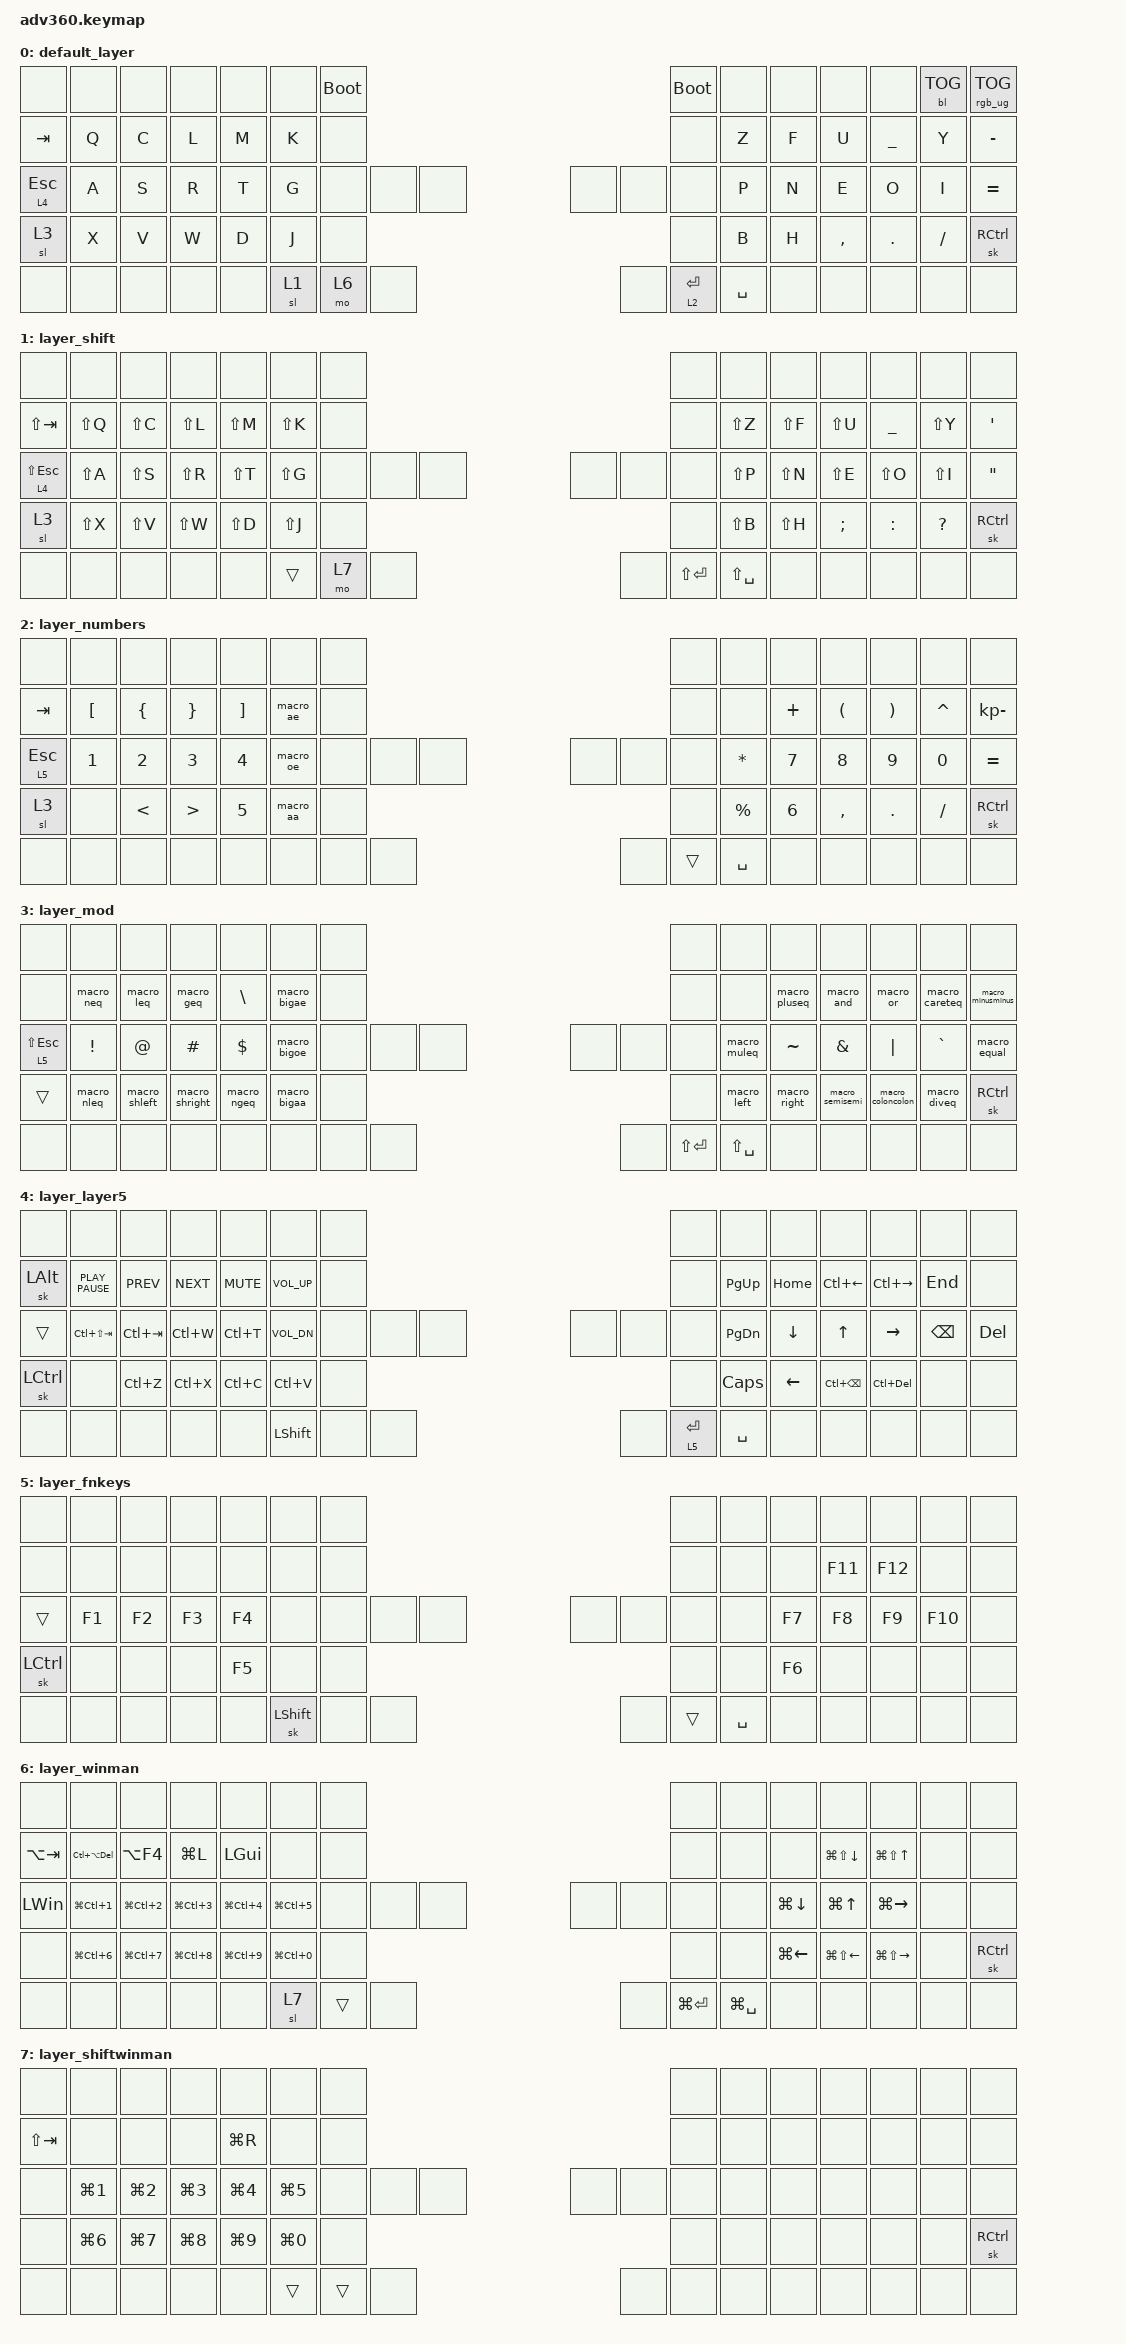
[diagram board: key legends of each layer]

/*
 * Copyright (c) 2020 The ZMK Contributors
 *
 * SPDX-License-Identifier: MIT
 */


/* THIS FILE WAS GENERATED!
 *
 * This file was generated automatically. You may or may not want to
 * edit it directly.
 */

#include <behaviors.dtsi>
#include <dt-bindings/zmk/backlight.h>
#include <dt-bindings/zmk/rgb.h>
#include <dt-bindings/zmk/keys.h>

/ {
  behaviors {
    #include "macros.dtsi"
    #include "version.dtsi"

    hm: homerow_mods {
        compatible = "zmk,behavior-hold-tap";
        label = "HOMEROW_MODS";
        #binding-cells = <2>;
        tapping-term-ms = <200>;
        quick_tap_ms = <175>;
        flavor = "tap-preferred";
        bindings = <&kp>, <&kp>;
    };
  };

    keymap {
        compatible = "zmk,keymap";


        default_layer {
            bindings = <
        &none   &none   &none   &none   &none   &none            &bootloader                                                       &bootloader   &none   &none      &none           &none  &bl BL_TOG  &rgb_ug RGB_TOG
      &kp TAB   &kp Q   &kp C   &kp L   &kp M   &kp K                  &none                                                             &none   &kp Z   &kp F      &kp U  &kp UNDERSCORE       &kp Y        &kp MINUS
 &lt 4 ESCAPE   &kp A   &kp S   &kp R   &kp T   &kp G                  &none   &none   &none                   &none        &none        &none   &kp P   &kp N      &kp E           &kp O       &kp I        &kp EQUAL
        &sl 3   &kp X   &kp V   &kp W   &kp D   &kp J                                  &none                   &none                             &kp B   &kp H  &kp COMMA         &kp DOT    &kp FSLH        &sk RCTRL
        &none   &none   &none   &none   &none                          &sl 1   &mo 6   &none                   &none  &lt 2 ENTER    &kp SPACE           &none      &none           &none       &none            &none
            >;
        };

        layer_shift {
            bindings = <
            &none      &none      &none      &none      &none      &none             &none                                                                 &none      &none      &none          &none           &none         &none              &none
      &kp LS(TAB)  &kp LS(Q)  &kp LS(C)  &kp LS(L)  &kp LS(M)  &kp LS(K)             &none                                                                 &none  &kp LS(Z)  &kp LS(F)      &kp LS(U)  &kp UNDERSCORE     &kp LS(Y)   &kp SINGLE_QUOTE
 &lt 4 LS(ESCAPE)  &kp LS(A)  &kp LS(S)  &kp LS(R)  &kp LS(T)  &kp LS(G)             &none   &none   &none                   &none          &none          &none  &kp LS(P)  &kp LS(N)      &kp LS(E)       &kp LS(O)     &kp LS(I)  &kp DOUBLE_QUOTES
            &sl 3  &kp LS(X)  &kp LS(V)  &kp LS(W)  &kp LS(D)  &kp LS(J)                             &none                   &none                                &kp LS(B)  &kp LS(H)  &kp SEMICOLON       &kp COLON  &kp QUESTION          &sk RCTRL
            &none      &none      &none      &none      &none                       &trans   &mo 7   &none                   &none  &kp LS(ENTER)  &kp LS(SPACE)                 &none          &none           &none         &none              &none
            >;
        };

        layer_numbers {
            bindings = <
        &none             &none           &none             &none              &none      &none            &none                                                      &none         &none         &none                 &none                  &none         &none         &none
      &kp TAB  &kp LEFT_BRACKET  &kp LEFT_BRACE   &kp RIGHT_BRACE  &kp RIGHT_BRACKET  &macro_ae            &none                                                      &none         &none      &kp PLUS  &kp LEFT_PARENTHESIS  &kp RIGHT_PARENTHESIS     &kp CARET  &kp KP_MINUS
 &lt 5 ESCAPE      &kp NUMBER_1    &kp NUMBER_2      &kp NUMBER_3       &kp NUMBER_4  &macro_oe            &none   &none   &none                   &none   &none      &none  &kp ASTERISK  &kp NUMBER_7          &kp NUMBER_8           &kp NUMBER_9  &kp NUMBER_0     &kp EQUAL
        &sl 3             &none   &kp LESS_THAN  &kp GREATER_THAN       &kp NUMBER_5  &macro_aa                            &none                   &none                      &kp PERCENT  &kp NUMBER_6             &kp COMMA                &kp DOT     &kp SLASH     &sk RCTRL
        &none             &none           &none             &none              &none                       &none   &none   &none                   &none  &trans  &kp SPACE                       &none                 &none                  &none         &none         &none
            >;
        };

        layer_mod {
            bindings = <
            &none            &none          &none           &none          &none         &none            &none                                                                 &none         &none          &none            &none              &none           &none              &none
            &none       &macro_neq     &macro_leq      &macro_geq  &kp BACKSLASH  &macro_bigae            &none                                                                 &none         &none  &macro_pluseq       &macro_and          &macro_or  &macro_careteq  &macro_minusminus
 &lt 5 LS(ESCAPE)  &kp EXCLAMATION         &kp AT        &kp HASH     &kp DOLLAR  &macro_bigoe            &none   &none   &none                   &none          &none          &none  &macro_muleq      &kp TILDE    &kp AMPERSAND           &kp PIPE       &kp GRAVE       &macro_equal
           &trans      &macro_nleq  &macro_shleft  &macro_shright    &macro_ngeq  &macro_bigaa                            &none                   &none                                 &macro_left   &macro_right  &macro_semisemi  &macro_coloncolon    &macro_diveq  &sk RIGHT_CONTROL
            &none            &none          &none           &none          &none                          &none   &none   &none                   &none  &kp LS(ENTER)  &kp LS(SPACE)                        &none            &none              &none           &none              &none
            >;
        };

        layer_layer5 {
            bindings = <
            &none             &none        &none       &none       &none         &none                 &none                                                           &none         &none     &none              &none          &none          &none    &none
         &sk LALT  &kp K_PLAY_PAUSE   &kp K_PREV  &kp K_NEXT  &kp K_MUTE  &kp K_VOL_UP                 &none                                                           &none     &kp PG_UP  &kp HOME       &kp LC(LEFT)  &kp LC(RIGHT)        &kp END    &none
           &trans   &kp LC(LS(TAB))  &kp LC(TAB)   &kp LC(W)   &kp LC(T)  &kp K_VOL_DN                 &none   &none   &none                   &none        &none      &none     &kp PG_DN  &kp DOWN             &kp UP      &kp RIGHT  &kp BACKSPACE  &kp DEL
 &sk LEFT_CONTROL             &none    &kp LC(Z)   &kp LC(X)   &kp LC(C)     &kp LC(V)                                 &none                   &none                          &kp CAPSLOCK  &kp LEFT  &kp LC(BACKSPACE)    &kp LC(DEL)          &none    &none
            &none             &none        &none       &none       &none                          &kp LSHIFT   &none   &none                   &none  &lt 5 ENTER  &kp SPACE                   &none              &none          &none          &none    &none
            >;
        };

        layer_fnkeys {
            bindings = <
     &none   &none   &none   &none   &none   &none                 &none                                                      &none   &none   &none    &none    &none    &none   &none
     &none   &none   &none   &none   &none   &none                 &none                                                      &none   &none   &none  &kp F11  &kp F12    &none   &none
    &trans  &kp F1  &kp F2  &kp F3  &kp F4   &none                 &none   &none   &none                   &none   &none      &none   &none  &kp F7   &kp F8   &kp F9  &kp F10   &none
 &sk LCTRL   &none   &none   &none  &kp F5   &none                                 &none                   &none                      &none  &kp F6    &none    &none    &none   &none
     &none   &none   &none   &none   &none                    &sk LSHIFT   &none   &none                   &none  &trans  &kp SPACE           &none    &none    &none    &none   &none
            >;
        };

        layer_winman {
            bindings = <
        &none                 &none                 &none                 &none                 &none                 &none            &none                                                                 &none   &none         &none             &none              &none   &none      &none
  &kp LA(TAB)       &kp LC(LA(DEL))            &kp LA(F4)             &kp LG(L)          &kp LEFT_GUI                 &none            &none                                                                 &none   &none         &none  &kp LG(LS(DOWN))     &kp LG(LS(UP))   &none      &none
 &kp LEFT_WIN  &kp LG(LC(NUMBER_1))  &kp LG(LC(NUMBER_2))  &kp LG(LC(NUMBER_3))  &kp LG(LC(NUMBER_4))  &kp LG(LC(NUMBER_5))            &none   &none   &none                   &none          &none          &none   &none  &kp LG(DOWN)        &kp LG(UP)      &kp LG(RIGHT)   &none      &none
        &none  &kp LG(LC(NUMBER_6))  &kp LG(LC(NUMBER_7))  &kp LG(LC(NUMBER_8))  &kp LG(LC(NUMBER_9))  &kp LG(LC(NUMBER_0))                            &none                   &none                                 &none  &kp LG(LEFT)  &kp LG(LS(LEFT))  &kp LG(LS(RIGHT))   &none  &sk RCTRL
        &none                 &none                 &none                 &none                 &none                                  &sl 7  &trans   &none                   &none  &kp LG(ENTER)  &kp LG(SPACE)                 &none             &none              &none   &none      &none
            >;
        };

        layer_shiftwinman {
            bindings = <
       &none             &none             &none             &none             &none             &none             &none                                                   &none   &none   &none   &none   &none   &none      &none
 &kp LS(TAB)             &none             &none             &none         &kp LG(R)             &none             &none                                                   &none   &none   &none   &none   &none   &none      &none
       &none  &kp LG(NUMBER_1)  &kp LG(NUMBER_2)  &kp LG(NUMBER_3)  &kp LG(NUMBER_4)  &kp LG(NUMBER_5)             &none   &none   &none                   &none   &none   &none   &none   &none   &none   &none   &none      &none
       &none  &kp LG(NUMBER_6)  &kp LG(NUMBER_7)  &kp LG(NUMBER_8)  &kp LG(NUMBER_9)  &kp LG(NUMBER_0)                             &none                   &none                   &none   &none   &none   &none   &none  &sk RCTRL
       &none             &none             &none             &none             &none                              &trans  &trans   &none                   &none   &none   &none           &none   &none   &none   &none      &none
            >;
        };

    };
};
